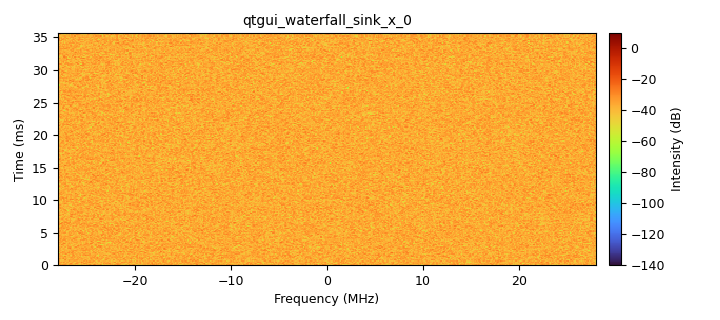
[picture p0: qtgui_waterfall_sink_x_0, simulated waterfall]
<?xml version='1.0' encoding='utf-8'?>
<?grc format='1' created='3.7.10'?>
<flow_graph>
<block>
<key>options</key>
<param><key>id</key><value>top_block</value></param>
<param><key>generate_options</key><value>qt_gui</value></param>
</block>
<block>
<key>variable_qtgui_range</key>
<param><key>id</key><value>frequency</value></param>
<param><key>value</key><value>144000000</value></param>
<param><key>label</key><value>frequency</value></param>
<param><key>orient</key><value>Qt.Horizontal</value></param>
<param><key>start</key><value>0</value></param>
<param><key>step</key><value>10000000</value></param>
<param><key>stop</key><value>5000000000</value></param>
</block>
<block>
<key>variable</key>
<param><key>id</key><value>samp_rate</value></param>
<param><key>value</key><value>56000000</value></param>
</block>
<block>
<key>analog_noise_source_x</key>
<param><key>id</key><value>analog_noise_source_x_0</value></param>
<param><key>amp</key><value>1</value></param>
<param><key>noise_type</key><value>analog.GR_GAUSSIAN</value></param>
<param><key>type</key><value>complex</value></param>
<param><key>seed</key><value>0</value></param>
</block>
<block>
<key>low_pass_filter</key>
<param><key>id</key><value>low_pass_filter_0</value></param>
<param><key>cutoff_freq</key><value>samp_rate /2</value></param>
<param><key>decim</key><value>1</value></param>
<param><key>_enabled</key><value>2</value></param>
<param><key>type</key><value>fir_filter_ccf</value></param>
<param><key>gain</key><value>1</value></param>
<param><key>samp_rate</key><value>samp_rate</value></param>
<param><key>width</key><value>samp_rate/32</value></param>
<param><key>win</key><value>firdes.WIN_HAMMING</value></param>
</block>
<block>
<key>osmosdr_sink</key>
<param><key>id</key><value>osmosdr_sink_0</value></param>
<param><key>ant0</key><value>BAND1</value></param>
<param><key>bb_gain0</key><value>0</value></param>
<param><key>freq0</key><value>frequency</value></param>
<param><key>if_gain0</key><value>0</value></param>
<param><key>gain0</key><value>20</value></param>
<param><key>args</key><value></value></param>
<param><key>type</key><value>fc32</value></param>
<param><key>sample_rate</key><value>samp_rate</value></param>
<param><key>sync</key><value></value></param>
</block>
<block>
<key>qtgui_waterfall_sink_x</key>
<param><key>id</key><value>qtgui_waterfall_sink_x_0</value></param>
<param><key>bw</key><value>samp_rate</value></param>
<param><key>fc</key><value>0</value></param>
<param><key>fftsize</key><value>1024</value></param>
<param><key>grid</key><value>True</value></param>
<param><key>type</key><value>complex</value></param>
<param><key>wintype</key><value>firdes.WIN_BLACKMAN_hARRIS</value></param>
</block>
<connection><source_block_id>analog_noise_source_x_0</source_block_id><sink_block_id>low_pass_filter_0</sink_block_id><source_key>0</source_key><sink_key>0</sink_key></connection>
<connection><source_block_id>low_pass_filter_0</source_block_id><sink_block_id>osmosdr_sink_0</sink_block_id><source_key>0</source_key><sink_key>0</sink_key></connection>
<connection><source_block_id>low_pass_filter_0</source_block_id><sink_block_id>qtgui_waterfall_sink_x_0</sink_block_id><source_key>0</source_key><sink_key>0</sink_key></connection>
</flow_graph>
